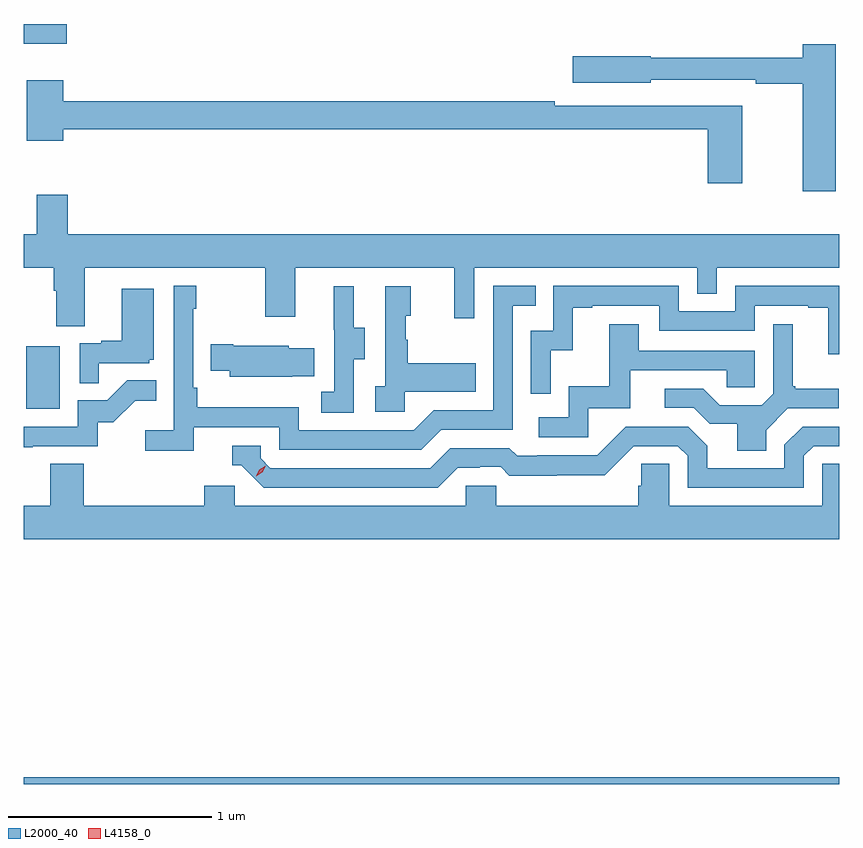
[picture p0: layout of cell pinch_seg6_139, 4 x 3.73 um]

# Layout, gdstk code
import gdstk
lib = gdstk.Library(unit=1e-6, precision=1e-09)
def R(c, l, rs):  # rectangles x0, y0, x1, y1
    for r in rs: c.add(gdstk.rectangle(r[:2], r[2:], *l))
def P(c, l, *ps):  # polygons
    for p in ps: c.add(gdstk.Polygon(p, *l))
L2000_40 = (2000, 40)
L4158_0 = (4158, 0)

pinch_seg6_139 = lib.new_cell('pinch_seg6_139')
R(pinch_seg6_139, L2000_40, [(997.586,915.5,1001.586,915.532), (997.598,917.34,997.762,917.647), (997.586,919.131,997.798,919.228)])
P(pinch_seg6_139, L2000_40, [(1001.569,919.129),(1001.408,919.129),(1001.408,919.063),(1000.662,919.063),(1000.662,919.071),(1000.278,919.071),(1000.278,918.941),(1000.662,918.941),(1000.662,918.954),(1001.176,918.954),(1001.176,918.934),(1001.408,918.934),(1001.408,918.408),(1001.569,918.408)],
  [(1001.11,918.828),(1000.19,918.828),(1000.19,918.848),(997.78,918.848),(997.78,918.952),(997.601,918.952),(997.601,918.656),(997.78,918.656),(997.78,918.712),(1000.94,918.712),(1000.94,918.447),(1001.11,918.447)],
  [(997.885,918.032),(998.77,918.032),(998.77,917.793),(998.917,917.793),(998.917,918.032),(999.698,918.032),(999.698,917.784),(999.795,917.784),(999.795,918.032),(1000.89,918.032),(1000.89,917.905),(1000.986,917.905),(1000.986,918.032),(1001.586,918.032),(1001.586,918.196),(997.802,918.196),(997.802,918.391),(997.649,918.391),(997.649,918.196),(997.586,918.196),(997.586,918.032),(997.733,918.032),(997.733,917.92),(997.745,917.92),(997.745,917.746),(997.885,917.746)],
  [(998.42,917.25),(998.838,917.25),(998.838,917.139),(999.535,917.139),(999.634,917.238),(999.984,917.238),(999.984,917.847),(1000.097,917.847),(1000.097,917.943),(999.888,917.943),(999.888,917.334),(999.597,917.334),(999.498,917.235),(998.934,917.235),(998.934,917.347),(998.438,917.347),(998.438,917.443),(998.418,917.443),(998.418,917.831),(998.431,917.831),(998.431,917.944),(998.322,917.944),(998.322,917.236),(998.181,917.236),(998.181,917.134),(998.42,917.134)],
  [(1000.17,917.627),(1000.28,917.627),(1000.28,917.835),(1000.375,917.835),(1000.375,917.847),(1000.704,917.847),(1000.704,917.724),(1001.172,917.724),(1001.172,917.847),(1001.435,917.847),(1001.435,917.835),(1001.531,917.835),(1001.531,917.609),(1001.586,917.609),(1001.586,917.943),(1001.076,917.943),(1001.076,917.82),(1000.8,917.82),(1000.8,917.943),(1000.182,917.943),(1000.182,917.724),(1000.074,917.724),(1000.074,917.415),(1000.17,917.415)],
  [(999.456,917.423),(999.803,917.423),(999.803,917.563),(999.469,917.563),(999.469,917.678),(999.459,917.678),(999.459,917.796),(999.484,917.796),(999.484,917.941),(999.36,917.941),(999.36,917.45),(999.309,917.45),(999.309,917.325),(999.456,917.325)],
  [(999.204,917.584),(999.259,917.584),(999.259,917.739),(999.205,917.739),(999.205,917.941),(999.107,917.941),(999.107,917.727),(999.108,917.727),(999.108,917.423),(999.045,917.423),(999.045,917.32),(999.204,917.32)],
  [(997.955,917.565),(998.202,917.565),(998.202,917.58),(998.224,917.58),(998.224,917.929),(998.066,917.929),(998.066,917.674),(997.967,917.674),(997.967,917.661),(997.86,917.661),(997.86,917.467),(997.955,917.467)],
  [(1000.356,917.343),(1000.561,917.343),(1000.561,917.529),(1001.035,917.529),(1001.035,917.445),(1001.172,917.445),(1001.172,917.625),(1000.603,917.625),(1000.603,917.755),(1000.459,917.755),(1000.459,917.452),(1000.26,917.452),(1000.26,917.298),(1000.113,917.298),(1000.113,917.202),(1000.356,917.202)],
  [(1001.227,917.236),(1001.334,917.343),(1001.584,917.343),(1001.584,917.44),(1001.371,917.44),(1001.371,917.452),(1001.359,917.452),(1001.359,917.755),(1001.262,917.755),(1001.262,917.415),(1001.205,917.358),(1000.999,917.358),(1000.918,917.439),(1000.731,917.439),(1000.731,917.346),(1000.872,917.346),(1000.952,917.266),(1001.087,917.266),(1001.087,917.134),(1001.227,917.134)],
  [(998.903,917.501),(999.011,917.501),(999.011,917.638),(998.886,917.638),(998.886,917.65),(998.614,917.65),(998.614,917.658),(998.503,917.658),(998.503,917.528),(998.597,917.528),(998.597,917.498),(998.903,917.498)],
  [(997.631,917.157),(997.95,917.157),(997.95,917.274),(998.026,917.274),(998.133,917.381),(998.237,917.381),(998.237,917.48),(998.093,917.48),(997.995,917.382),(997.851,917.382),(997.851,917.253),(997.586,917.253),(997.586,917.152),(997.631,917.152)],
  [(999.715,917.052),(999.822,917.052),(999.822,917.055),(999.925,917.055),(999.967,917.013),(1000.2,917.013),(1000.2,917.015),(1000.436,917.015),(1000.578,917.157),(1000.794,917.157),(1000.842,917.109),(1000.842,916.953),(1001.412,916.953),(1001.412,917.109),(1001.46,917.157),(1001.586,917.157),(1001.586,917.253),(1001.406,917.253),(1001.316,917.163),(1001.316,917.049),(1000.939,917.049),(1000.939,917.159),(1000.845,917.253),(1000.539,917.253),(1000.398,917.112),(1000.105,917.112),(1000.105,917.109),(1000.006,917.109),(999.967,917.148),(999.678,917.148),(999.579,917.049),(998.796,917.049),(998.748,917.097),(998.748,917.16),(998.609,917.16),(998.609,917.064),(998.652,917.064),(998.763,916.953),(999.616,916.953)],
  [(1001.586,917.072),(1001.502,917.072),(1001.502,916.864),(1000.752,916.864),(1000.752,917.072),(1000.615,917.072),(1000.615,916.962),(1000.601,916.962),(1000.601,916.864),(999.903,916.864),(999.903,916.962),(999.753,916.962),(999.753,916.864),(998.622,916.864),(998.622,916.962),(998.471,916.962),(998.471,916.864),(997.88,916.864),(997.88,917.072),(997.715,917.072),(997.715,916.864),(997.586,916.864),(997.586,916.7),(1001.586,916.7)])
P(pinch_seg6_139, L4158_0, [(998.726,917.01),(998.726,917.01),(998.742,917.042),(998.773,917.062),(998.773,917.062),(998.773,917.061),(998.757,917.029),(998.726,917.01)])

lib.write_gds('pinch_seg6_139.gds')
